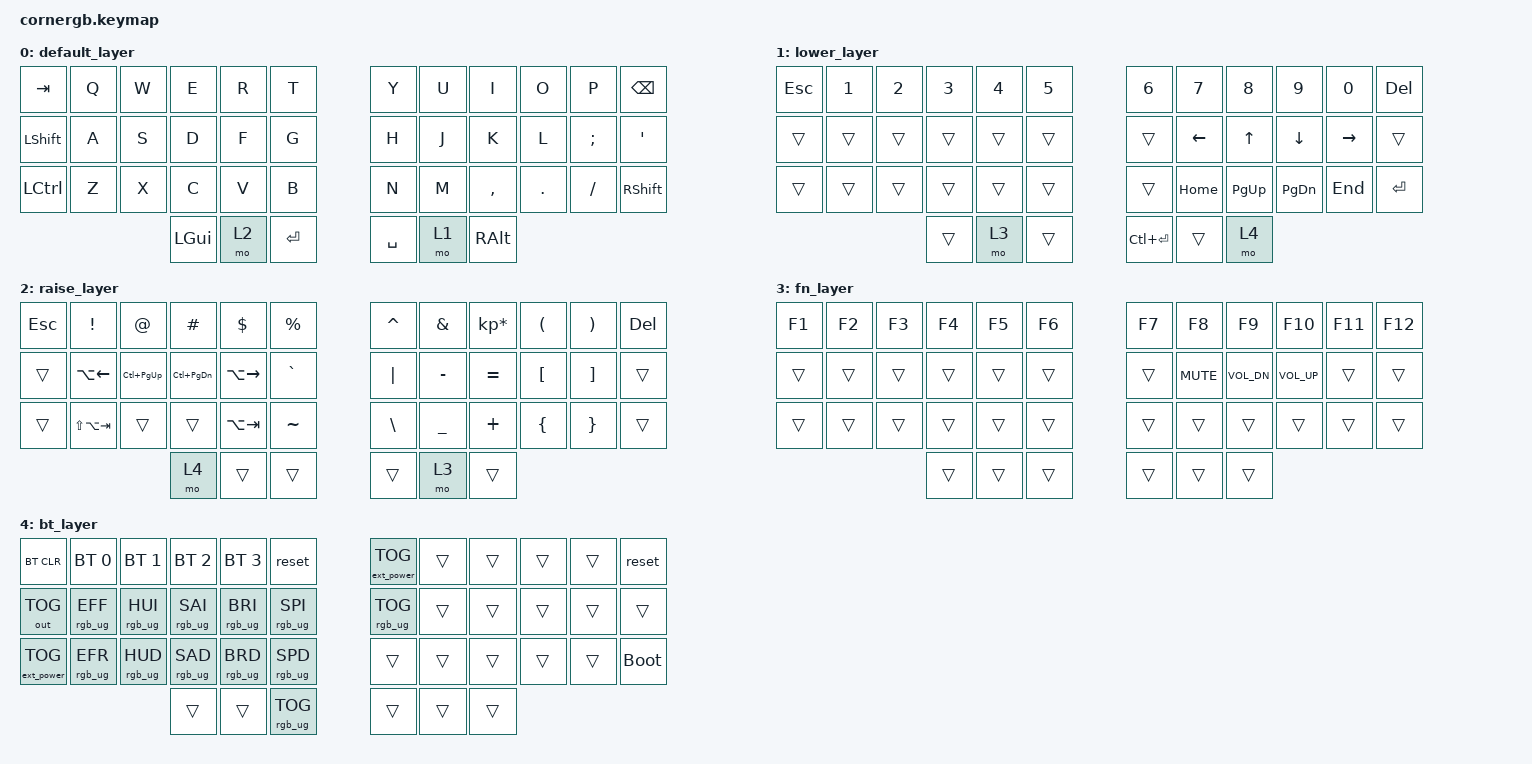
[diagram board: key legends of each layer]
/*
 * Copyright (c) 2020 The ZMK Contributors
 *
 * SPDX-License-Identifier: MIT
 */

#include <behaviors.dtsi>
#include <dt-bindings/zmk/keys.h>
#include <dt-bindings/zmk/bt.h>
#include <dt-bindings/zmk/outputs.h>
#include <dt-bindings/zmk/rgb.h>
#include <dt-bindings/zmk/ext_power.h>

/*
 * Temporarily here because nice nano v2 spi is not defined on ZMk Yet
 * Source: https://github.com/zmkfirmware/zmk/blob/main/app/boards/shields/reviung41/boards/nice_nano.overlay
 * GitHub Issue: https://github.com/zmkfirmware/zmk/issues/885
 */

#include <dt-bindings/led/led.h>
&spi1 {
	compatible = "nordic,nrf-spim";
	status = "okay";
	mosi-pin = <6>;
	// Unused pins, needed for SPI definition, but not used by the ws2812 driver itself.
	sck-pin = <5>;
	miso-pin = <7>;

	led_strip: ws2812@0 {
		compatible = "worldsemi,ws2812-spi";
		label = "WS2812";

		/* SPI */
		reg = <0>; /* ignored, but necessary for SPI bindings */
		spi-max-frequency = <4000000>;

		/* WS2812 */
		chain-length = <27>;
		spi-one-frame = <0x70>;
		spi-zero-frame = <0x40>;
		color-mapping = <LED_COLOR_ID_GREEN LED_COLOR_ID_RED LED_COLOR_ID_BLUE>;
	};
};

/ {
	chosen {
		zmk,underglow = &led_strip;
	};
};

/* END temporary RGB support section */

/ {
        keymap {
                compatible = "zmk,keymap";

                default_layer {
// --------------------------------------------------------------------------------
// |  TAB |  Q  |  W  |  E  |  R  |  T  |   |  Y  |  U   |  I  |  O  |  P  | BKSP |
// | CTRL |  A  |  S  |  D  |  F  |  G  |   |  H  |  J   |  K  |  L  |  ;  |  '   |
// | SHFT |  Z  |  X  |  C  |  V  |  B  |   |  N  |  M   |  ,  |  .  |  /  | SHFT |
//                    | GUI | RSE | SPC |   | ENT | LWR  | ALT |
                        bindings = <
   &kp TAB   &kp Q &kp W &kp E     &kp R &kp T      &kp Y     &kp U  &kp I     &kp O   &kp P    &kp BSPC
   &kp LSHFT &kp A &kp S &kp D     &kp F &kp G      &kp H     &kp J  &kp K     &kp L   &kp SEMI &kp SQT
   &kp LCTRL &kp Z &kp X &kp C     &kp V &kp B      &kp N     &kp M  &kp COMMA &kp DOT &kp FSLH &kp RSHFT
                         &kp LGUI  &mo 2 &kp RET    &kp SPACE &mo 1  &kp RALT
                        >;
                };
                lower_layer {
// -------------------------------------------------------------------------------
// |  ESC |  1  |  2  |  3  |  4  |  5  |   |  6  |  7  |  8  |  9  |  0  | BKSP |
// |      |     |     |     |     |  _  |   | LFT |  UP | DWN | RGT |     |      |
// |      |     |     |     |     |  -  |   |     |     |     |     |     |      |
//                    | BT  |     |     |   |     |     |     |
                        bindings = <
   &kp ESC    &kp N1       &kp N2       &kp N3       &kp N4       &kp N5            &kp N6        &kp N7   &kp N8    &kp N9    &kp N0    &kp DEL
   &trans     &trans       &trans       &trans       &trans       &trans            &trans        &kp LEFT &kp UP    &kp DOWN  &kp RIGHT &trans
   &trans     &trans       &trans       &trans       &trans       &trans            &trans        &kp HOME &kp PG_UP &kp PG_DN &kp END   &kp ENTER
                                        &trans       &mo 3        &trans            &kp LC(ENTER) &trans   &mo 4
                        >;
                };

                raise_layer {
// ---------------------------------------------------------------------------------------------
// |      |  !    |  @     |  #     |  $      |  %  |      |  ^  |  &  |  *  |  (  |  )  | DEL |
// |      |A(LEFT)|C(PGUP) |C(PGDN) |A(RIGHT) |  `  |      |  |  |  -  |  =  |  [  |  ]  |     |
// |      |       |        |        |         |  ~  |      |  \  |  _  |  +  |  {  |  }  |     | 
//                         |        |         |     |      |     |     |     |
                        bindings = <
   &kp ESC   &kp EXCL        &kp AT        &kp HASH      &kp DLLR      &kp PRCNT        &kp CARET &kp AMPS  &kp KP_MULTIPLY &kp LPAR &kp RPAR &kp DEL
   &trans    &kp LA(LEFT)    &kp LC(PG_UP) &kp LC(PG_DN) &kp LA(RIGHT) &kp GRAVE        &kp PIPE  &kp MINUS &kp EQUAL       &kp LBKT &kp RBKT &trans
   &trans    &kp LS(LA(TAB)) &trans        &trans        &kp LA(TAB)   &kp TILDE        &kp BSLH  &kp UNDER &kp PLUS        &kp LBRC &kp RBRC &trans
                                           &mo 4         &trans        &trans           &trans    &mo 3     &trans
                        >;
                };

                fn_layer {
// ------------------------------------------------------------------------------
// |  F1  | F2  | F3  | F4  | F5  | F6  |   | F7  | F8  | F9  | F10 | F11 | F12 |
// |      |     |     |     |     |     |   |     |     |     |     |     |     |
// |      |     |     |     |     |     |   |     |     |     |     |     |     |
//                    |     |     |     |   |     |     |     |
                        bindings = <
   &kp F1    &kp F2    &kp F3  &kp F4    &kp F5    &kp F6      &kp F7    &kp F8     &kp F9       &kp F10      &kp F11  &kp F12  
   &trans    &trans    &trans  &trans    &trans    &trans      &trans    &kp C_MUTE &kp C_VOL_DN &kp C_VOL_UP &trans   &trans  
   &trans    &trans    &trans  &trans    &trans    &trans      &trans    &trans     &trans       &trans       &trans   &trans
                               &trans    &trans    &trans      &trans    &trans     &trans
                        >;
                };                

                bt_layer {
// ----------------------------------------------------------------------------------------
// | BTCLR| BT1 | BT2 | BT3 | BT4 | BT5 |             |     |     |     |     |     |     |
// |      |     |     |     |     |     |             |     |     |     |     |     |     |
// |      |     |     |     |     |     |             |     |     |     |     |     |     |
//                    |     |     |     |             |     |     |     |
                        bindings = <
   &bt BT_CLR        &bt BT_SEL 0    &bt BT_SEL 1    &bt BT_SEL 2    &bt BT_SEL 3    &reset                  &ext_power EP_TOG &trans &trans &trans &trans &reset
   &out OUT_TOG      &rgb_ug RGB_EFF &rgb_ug RGB_HUI &rgb_ug RGB_SAI &rgb_ug RGB_BRI &rgb_ug RGB_SPI         &rgb_ug RGB_TOG   &trans &trans &trans &trans &trans
   &ext_power EP_TOG &rgb_ug RGB_EFR &rgb_ug RGB_HUD &rgb_ug RGB_SAD &rgb_ug RGB_BRD &rgb_ug RGB_SPD         &trans            &trans &trans &trans &trans &bootloader
                                                     &trans          &trans          &rgb_ug RGB_TOG         &trans            &trans &trans
                        >;
                };
        };
};
